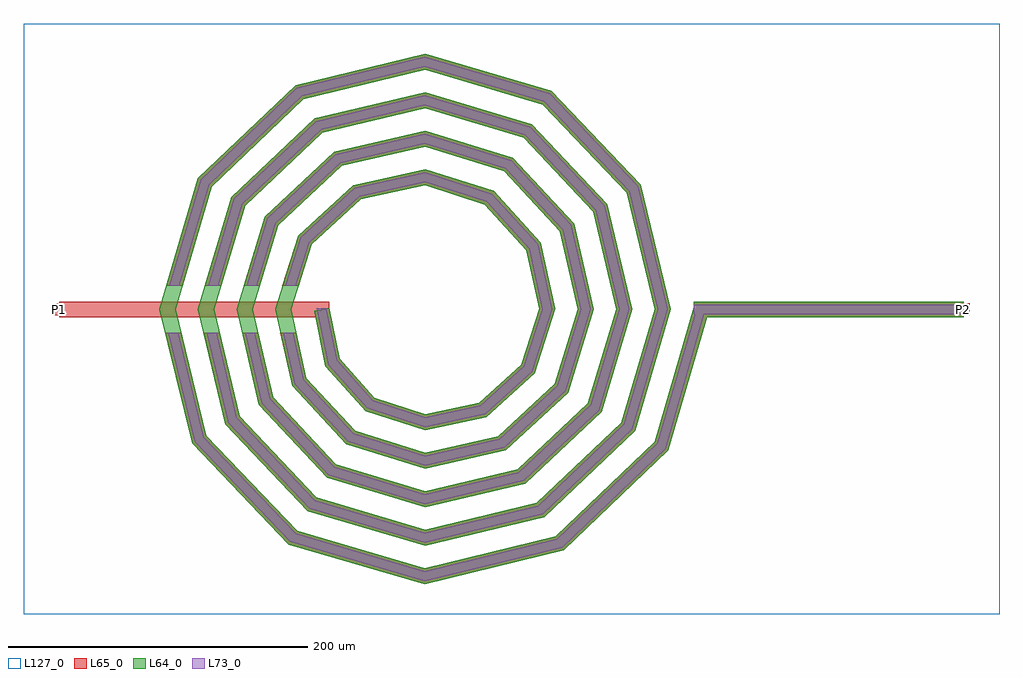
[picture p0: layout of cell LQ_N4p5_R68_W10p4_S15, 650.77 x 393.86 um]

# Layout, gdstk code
import gdstk
lib = gdstk.Library(unit=1e-6, precision=1e-09)
def R(c, l, rs):  # rectangles x0, y0, x1, y1
    for r in rs: c.add(gdstk.rectangle(r[:2], r[2:], *l))
def P(c, l, *ps):  # polygons
    for p in ps: c.add(gdstk.Polygon(p, *l))
L64_0 = (64, 0)
L65_0 = (65, 0)
L73_0 = (73, 0)
L127_0 = (127, 0)

lq_n4p5_r68_w10p4_s15 = lib.new_cell('LQ_N4p5_R68_W10p4_S15')
R(lq_n4p5_r68_w10p4_s15, L64_0, [(179.192,-5.2,359.192,5.2)])
P(lq_n4p5_r68_w10p4_s15, L64_0, [(-56.612,-33.035),(-33.588,-58.765),(0.286,-69.826),(36.224,-62.186),(64.314,-36.82),(76.248,0.263),(67.758,39.417),(40.048,69.866),(0.244,82.67),(-42.612,73.329),(-75.419,43.274),(-89.092,0.228),(-78.899,-45.809),(-46.499,-80.973),(0.213,-95.515),(49.008,-84.468),(86.528,-49.721),(101.937,0.2),(90.036,52.209),(52.943,92.085),(0.189,108.36),(-55.411,95.604),(-97.642,56.163),(-114.782,0.179),(-101.171,-58.614),(-59.382,-103.199),(0.17,-121.205),(61.818,-106.737),(108.757,-62.601),(127.628,0.162),(112.303,65.022),(65.819,114.315),(0.154,134.05),(-68.227,117.869),(-119.874,69.037),(-140.473,0.147),(-123.435,-71.433),(-72.253,-125.433),(0.141,-146.896),(74.639,-129),(130.992,-75.47),(153.319,0.135),(134.565,77.845),(78.686,136.552),(0.13,159.741),(-81.052,140.13),(-142.112,81.902),(-166.164,0.125),(-145.695,-84.26),(-85.117,-147.672),(0.121,-172.587),(87.467,-151.259),(153.232,-88.332),(179.4,1.455),(189.384,-1.455),(162.436,-93.919),(92.643,-160.701),(0.121,-183.351),(-90.711,-156.872),(-155.141,-89.427),(-176.928,0.125),(-151.307,87.504),(-86.212,149.581),(0.13,170.505),(84.296,145.742),(144.021,82.996),(164.082,0.135),(140.177,-81.09),(79.78,-138.461),(0.141,-157.66),(-77.883,-134.611),(-132.901,-76.563),(-151.237,0.147),(-129.046,74.677),(-73.346,127.342),(0.154,144.813),(71.472,123.48),(121.783,70.128),(138.39,0.162),(117.913,-68.267),(66.91,-116.225),(0.17,-131.967),(-65.063,-112.346),(-110.667,-63.69),(-125.544,0.179),(-106.779,61.859),(-60.47,105.109),(0.189,119.121),(58.657,101.211),(99.552,57.249),(112.698,0.2),(95.643,-55.455),(54.027,-93.995),(0.213,-106.275),(-52.255,-90.073),(-88.439,-50.803),(-99.851,0.228),(-84.503,49.057),(-47.578,82.884),(0.244,93.428),(45.86,78.931),(77.33,44.35),(87.004,0.263),(73.358,-42.666),(41.12,-71.778),(0.286,-80.58),(-39.474,-67.783),(-66.227,-37.886),(-73.872,-1.057),(-63.689,1.057)])
R(lq_n4p5_r68_w10p4_s15, L65_0, [(-243.58,-5.2,-63.58,5.2), (179.192,-5.2,359.192,5.2), (-247.58,-4,-239.58,4), (355.192,-4,363.192,4)])
P(lq_n4p5_r68_w10p4_s15, L65_0, [(-145.695,-84.26),(-85.117,-147.672),(0.121,-172.587),(87.467,-151.259),(153.232,-88.332),(179.4,1.455),(189.384,-1.455),(162.436,-93.919),(92.643,-160.701),(0.121,-183.351),(-90.711,-156.872),(-155.141,-89.428),(-173.103,-15.6),(-162.399,-15.6)],
  [(-123.435,-71.433),(-72.253,-125.433),(0.141,-146.896),(74.639,-129),(130.992,-75.47),(153.319,0.136),(134.565,77.846),(78.686,136.552),(0.13,159.741),(-81.053,140.13),(-142.112,81.902),(-161.553,15.6),(-172.391,15.6),(-151.307,87.504),(-86.212,149.581),(0.13,170.506),(84.297,145.742),(144.021,82.996),(164.083,0.136),(140.177,-81.09),(79.78,-138.461),(0.141,-157.66),(-77.883,-134.611),(-132.902,-76.563),(-147.473,-15.6),(-136.78,-15.6)],
  [(-101.171,-58.614),(-59.383,-103.199),(0.17,-121.205),(61.818,-106.737),(108.757,-62.601),(127.628,0.162),(112.303,65.022),(65.819,114.315),(0.154,134.05),(-68.227,117.869),(-119.874,69.037),(-135.784,15.6),(-146.636,15.6),(-129.046,74.677),(-73.346,127.342),(0.154,144.814),(71.472,123.48),(121.783,70.128),(138.39,0.162),(117.913,-68.267),(66.91,-116.225),(0.17,-131.967),(-65.063,-112.347),(-110.667,-63.69),(-121.869,-15.6),(-111.19,-15.6)],
  [(-78.899,-45.809),(-46.499,-80.973),(0.213,-95.515),(49.009,-84.468),(86.529,-49.721),(101.937,0.2),(90.036,52.209),(52.943,92.085),(0.189,108.36),(-55.411,95.604),(-97.642,56.163),(-109.982,15.6),(-120.853,15.6),(-106.779,61.859),(-60.47,105.109),(0.189,119.121),(58.657,101.211),(99.552,57.249),(112.698,0.2),(95.643,-55.455),(54.027,-93.995),(0.213,-106.275),(-52.255,-90.073),(-88.439,-50.804),(-96.312,-15.6),(-85.655,-15.6)],
  [(-33.588,-58.765),(0.286,-69.826),(36.224,-62.186),(64.314,-36.82),(76.248,0.263),(67.759,39.417),(40.048,69.866),(0.244,82.67),(-42.612,73.329),(-75.419,43.274),(-84.118,15.6),(-95.019,15.6),(-84.503,49.057),(-47.578,82.884),(0.244,93.428),(45.86,78.931),(77.33,44.35),(87.004,0.263),(73.358,-42.666),(41.12,-71.778),(0.286,-80.58),(-39.474,-67.783),(-66.227,-37.886),(-73.872,-1.057),(-63.689,1.057),(-56.612,-33.035)])
R(lq_n4p5_r68_w10p4_s15, L73_0, [(179.192,-3.2,359.192,3.2)])
P(lq_n4p5_r68_w10p4_s15, L73_0, [(-147.511,-85.254),(-86.193,-149.441),(0.074,-174.657),(88.463,-153.075),(155.002,-89.407),(181.32,0.895),(187.464,0.895),(160.666,-92.845),(91.648,-158.885),(0.074,-181.281),(-89.635,-155.103),(-153.324,-88.434),(-171.044,-15.6),(-164.458,-15.6)],
  [(-125.255,-72.419),(-73.336,-127.198),(0.087,-148.966),(75.628,-130.819),(132.759,-76.551),(155.389,0.083),(136.383,78.836),(79.765,138.319),(0.08,161.811),(-82.045,141.947),(-143.88,82.979),(-163.637,15.6),(-170.307,15.6),(-149.539,86.426),(-85.22,147.763),(0.08,168.436),(83.218,143.975),(142.202,82.006),(162.013,0.083),(138.411,-80.009),(78.791,-136.642),(0.087,-155.59),(-76.801,-132.846),(-131.081,-75.576),(-145.416,-15.6),(-138.836,-15.6)],
  [(-102.997,-59.59),(-60.475,-104.958),(0.105,-123.275),(62.797,-108.562),(110.518,-63.691),(129.697,0.1),(114.126,66.004),(66.906,116.078),(0.095,136.12),(-69.212,119.691),(-121.638,70.121),(-137.871,15.6),(-144.549,15.6),(-127.282,73.593),(-72.361,125.521),(0.095,142.744),(70.385,121.717),(119.96,69.146),(136.321,0.1),(116.152,-67.177),(65.93,-114.4),(0.105,-129.898),(-63.97,-110.587),(-108.84,-62.714),(-119.815,-15.6),(-113.244,-15.6)],
  [(-80.734,-46.77),(-47.606,-82.723),(0.131,-97.584),(49.974,-86.3),(88.281,-50.824),(104.007,0.123),(91.866,53.178),(54.042,93.84),(0.116,110.429),(-56.384,97.432),(-99.399,57.259),(-112.073,15.6),(-118.762,15.6),(-105.022,60.764),(-59.497,103.281),(0.116,117.052),(57.558,99.456),(97.722,56.28),(110.629,0.123),(93.89,-54.353),(53.062,-92.163),(0.131,-104.205),(-51.148,-88.323),(-86.605,-49.843),(-94.262,-15.6),(-87.704,-15.6)],
  [(-34.72,-60.499),(0.176,-71.894),(37.166,-64.031),(66.053,-37.944),(78.317,0.162),(69.599,40.365),(41.166,71.609),(0.15,84.739),(-43.567,75.167),(-77.166,44.386),(-86.214,15.6),(-92.923,15.6),(-82.756,47.945),(-46.623,81.047),(0.15,91.359),(44.742,77.188),(75.49,43.402),(84.936,0.162),(71.619,-41.541),(40.179,-69.933),(0.176,-78.512),(-38.342,-66.049),(-64.378,-36.953),(-71.914,0.65),(-65.647,0.65),(-58.461,-33.968)])
R(lq_n4p5_r68_w10p4_s15, L127_0, [(-267.58,-203.351,383.192,190.506)])
lq_n4p5_r68_w10p4_s15.add(gdstk.Label('P2', (359.192,0), layer=65, texttype=0))
lq_n4p5_r68_w10p4_s15.add(gdstk.Label('P1', (-243.58,0), layer=65, texttype=0))
lq_n4p5_r68_w10p4_s15.add(gdstk.Label('P2', (363.192,0), layer=145, texttype=0))
lq_n4p5_r68_w10p4_s15.add(gdstk.Label('P1', (-247.58,0), layer=145, texttype=0))

lib.write_gds('LQ_N4p5_R68_W10p4_S15.gds')
